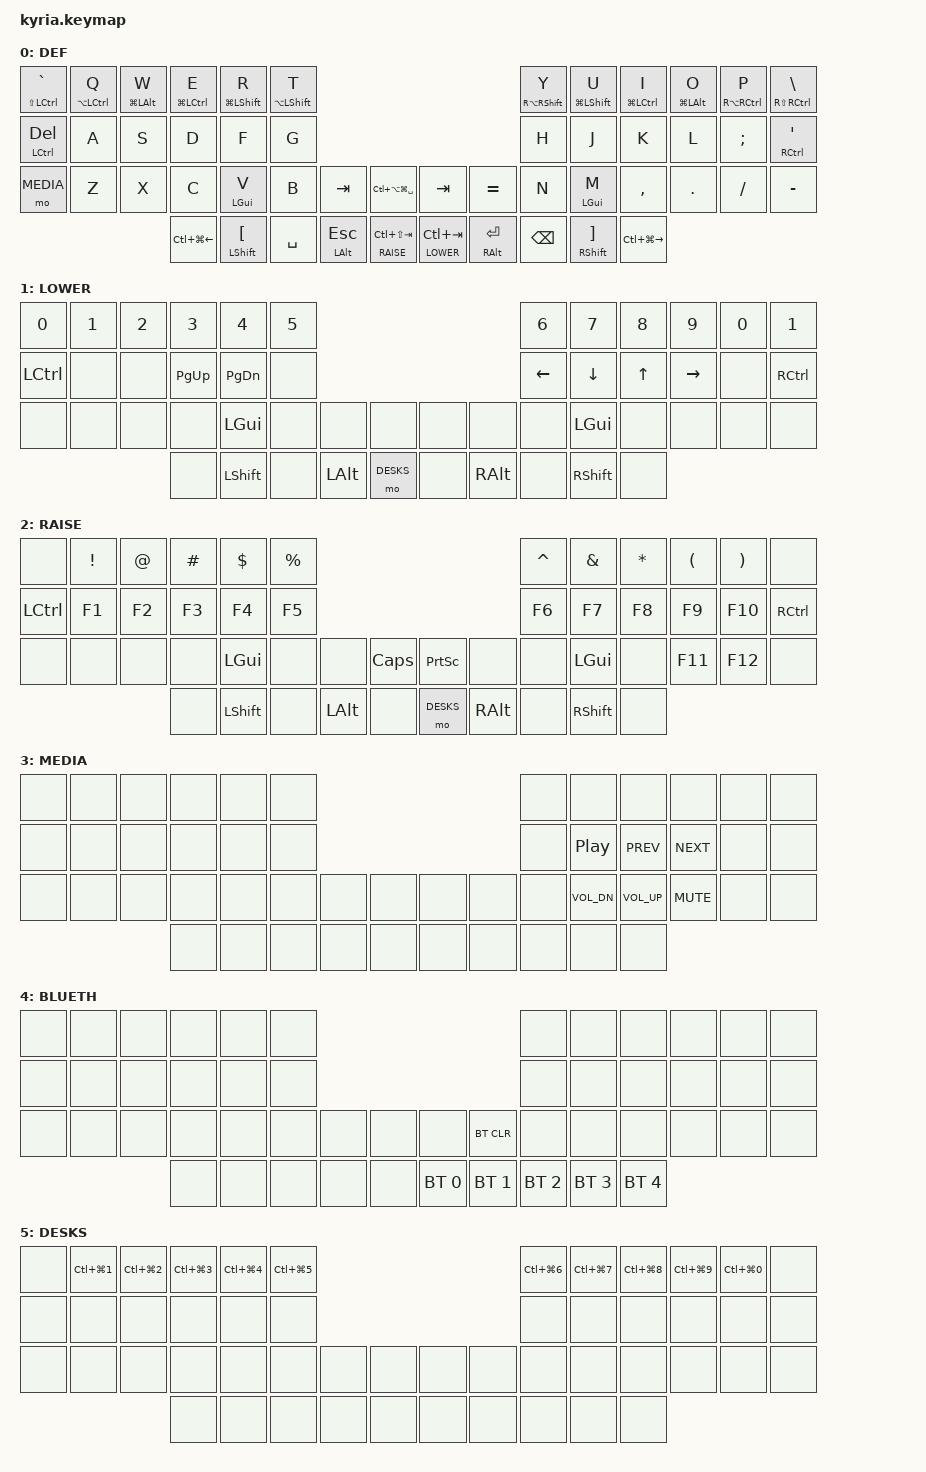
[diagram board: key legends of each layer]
/*
 * Copyright (c) 2020 The ZMK Contributors
 *
 * SPDX-License-Identifier: MIT
 */

#include <behaviors.dtsi>
#include <dt-bindings/zmk/keys.h>
#include <dt-bindings/zmk/bt.h>
#include <dt-bindings/zmk/outputs.h>


// Layer aliases
#define DEF      0
#define LOWER    1
#define RAISE    2
#define MEDIA    3
#define BLUETH   4
#define DESKS    5

// key aliases
#define TAB_LT      LC(LS(TAB)) // tab left
#define TAB_RT      LC(TAB) // tab right
#define DESK_LT     LC(LG(LEFT)) // desktop left
#define DESK_RT     LC(LG(RIGHT)) // desktop right

#define L_SC        LS(LEFT_CONTROL)
#define R_SC        RS(RIGHT_CONTROL)
#define L_AC        LA(LEFT_CONTROL)
#define R_AC        RA(RIGHT_CONTROL)
#define L_GC        LG(LEFT_CONTROL)
#define R_GC        RG(RIGHT_CONTROL)
#define L_GA        LG(LEFT_ALT)
#define R_GA        RG(RIGHT_ALT)
#define L_GS        LG(LEFT_SHIFT)
#define R_GS        RG(RIGHT_SHIFT)
#define L_AS        LA(LEFT_SHIFT)
#define R_AS        RA(RIGHT_SHIFT)

#define SPECIAL     LC(LA(LG(SPACE))) // Hold Left Control, Alt and GUI and press Space

&mt {
    flavor = "hold-preferred";
    tapping-term-ms = <150>;
};

&lt {
    flavor = "balanced";
    tapping-term-ms = <150>;
};

/ {
    behaviors {
        adm: alpha_double_mods {
            compatible = "zmk,behavior-hold-tap";
            label = "ALPHA_DOUBLE_MT";
            #binding-cells = <2>;
            tapping-term-ms = <250>;
            quick-tap-ms = <150>;
            flavor = "tap-preferred";
            bindings = <&kp>, <&kp>;
        };
        am: alpha_mods {
            compatible = "zmk,behavior-hold-tap";
            label = "ALPHA_MT";
            #binding-cells = <2>;
            tapping-term-ms = <200>;
            quick-tap-ms = <150>;
            flavor = "tap-preferred";
            bindings = <&kp>, <&kp>;
        };
        as: alpha_shift {
            compatible = "zmk,behavior-hold-tap";
            label = "ALPHA_SFT";
            #binding-cells = <2>;
            tapping-term-ms = <175>;
            quick-tap-ms = <150>;
            flavor = "tap-preferred";
            bindings = <&kp>, <&kp>;
        };
    };

    keymap {
        compatible = "zmk,keymap";
/*
 * Default Layer: QWERTY
 *
 * ,--------------------------------------------.                                            ,--------------------------------------------.
 * | sc_~ ` | ac_Q  | ga_W | gc_E | gs_R | sa_T |                                            | sa_Y | gs_U | gc_I | ga_O  | ac_P  |sc_\ | |
 * |--------+-------+------+------+------+------|                                            |------+------+------+-------+-------+-------|
 * | c_Del  |   A   |   S  |   D  |   F  |  G   |                                            |   H  |  J   |  K   |   L   |  ; :  | c_' " |
 * |--------+-------+------+------+------+------+------------------.       ,-----------------+------+------+------+-------+-------+-------|
 * | Media  |   Z   |   X  |   C  |  g_V |  B   |  Tab  | Special  |       |  BLUETH   | = + |   N  | g_M  | , <  |  . >  |  / ?  |  - _  |
 * `--------+-------+------+------+------+------+-------+----------|       |-----------+-----+------+------+------+-------+-------+-------'
 *                         |DeskLt| s_[{ |Space | a_Esc |RAI_c_Tab |       |LOW_sc_Tab |a_Ent|Bkspc | s_]} |DeskRt|
 *                         `---------------------------------------'       `--------------------------------------'
 */
        default_layer {
            label = "DEF";
            bindings = <
// ╭───────────────┬─────────────┬─────────────┬─────────────┬─────────────┬─────────────╮                                                                  ╭─────────────┬─────────────┬─────────────┬─────────────┬────────────┬──────────────╮
     &am L_SC GRAVE  &am L_AC Q    &am L_GA W    &am L_GC E    &am L_GS R    &am L_AS T                                                                        &am R_AS Y    &am L_GS U    &am L_GC I    &am L_GA O    &am R_AC P  &am R_SC BSLH
// ├───────────────├─────────────┼─────────────┼─────────────┼─────────────┼─────────────┤                                                                  ├─────────────├─────────────┼─────────────┼─────────────┼────────────┼──────────────┤
     &am LCTRL DEL    &kp A         &kp S         &kp D         &kp F         &kp G                                                                            &kp H         &kp J         &kp K         &kp L         &kp SEMI    &am RCTRL SQT
// ├───────────────├─────────────┼─────────────┼─────────────┼─────────────┼─────────────┼─────────────┬───────────────╮     ╭───────────────┬──────────────├─────────────├─────────────┼─────────────┼─────────────┼────────────┼──────────────┤
      &mo MEDIA       &kp Z         &kp X         &kp C         &am LGUI V    &kp B         &kp TAB       &kp SPECIAL            &kp TAB        &kp EQUAL      &kp N         &am LGUI M    &kp COMMA     &kp DOT       &kp FSLH     &kp MINUS
// ╰───────────────┴─────────────┴─────────────┼─────────────┼─────────────┼─────────────┼─────────────┼───────────────┤     ├───────────────├──────────────├─────────────├─────────────┼─────────────┼─────────────┴────────────┴──────────────╯
                                                &kp DESK_LT  &mt LSHFT LBKT  &kp SPACE    &am LALT ESC &lt RAISE TAB_LT       &lt LOWER TAB_RT &am RALT RET    &kp BSPC    &mt RSHFT RBKT  &kp DESK_RT
//                                             ╰─────────────┴─────────────┴─────────────┴─────────────┴───────────────╯     ╰───────────────┴──────────────┴─────────────┴─────────────┴─────────────╯
            >;
        };

/*
 * Lower Layer: Numbers and Arrow/Scroll Navigation
 *
 * ,-----------------------------------------.                                ,--------------------------------------------.
 * |  0   |  1   |  2   |  3   |  4   |  5   |                                |   6  |  7   |  8   |  9   |   0   |   1    |
 * |------+------+------+------+------+------|                                |------+------+------+------+-------+--------|
 * | CTRL |      |      | PgUp | PgDn |      |                                | Left | Down |  Up  |Right |       |  CTRL  |
 * |------+------+------+------+------+------+-------------.    ,-------------+------+------+------+------+-------+--------|
 * |      |      |      |      | Gui  |      |      |      |    |      |      |      | Gui  |      |      |       |        |
 * `--------------------+------+------+------+------+------|    |------+------+------+------+------+-----------------------'
 *                      |      | Shft |      | Alt  |DESKS |    |      | Alt  |      | Shft |      |
 *                      `----------------------------------'    `----------------------------------'
 */
        lower_layer {
            label = "LOWER";
            bindings = <
// ╭─────────────┬─────────────┬─────────────┬─────────────┬─────────────┬─────────────╮                                                           ╭─────────────┬─────────────┬─────────────┬─────────────┬─────────────┬─────────────╮
      &kp N0        &kp N1        &kp N2        &kp N3        &kp N4        &kp N5                                                                    &kp N6        &kp N7        &kp N8         &kp N9        &kp N0        &kp N1
// ├─────────────├─────────────┼─────────────┼─────────────┼─────────────┼─────────────┤                                                           ├─────────────├─────────────┼─────────────┼─────────────┼─────────────┼─────────────┤
      &kp LCTRL     &none         &none         &kp PG_UP     &kp PG_DN     &none                                                                     &kp LEFT      &kp DOWN      &kp UP         &kp RIGHT     &none         &kp RCTRL
// ├─────────────├─────────────┼─────────────┼─────────────┼─────────────┼─────────────┼─────────────┬─────────────╮   ╭─────────────┬─────────────├─────────────├─────────────┼─────────────┼─────────────┼─────────────┼─────────────┤
      &none         &none         &none         &none         &kp LGUI      &none         &none         &none             &none         &none         &none         &kp LGUI      &none          &none         &none         &none
// ╰─────────────┴─────────────┴─────────────┼─────────────┼─────────────┼─────────────┼─────────────┼─────────────┤   ├─────────────├─────────────├─────────────├─────────────┼─────────────┼─────────────┴─────────────┴─────────────╯
                                                &none         &kp LSHFT     &none         &kp LALT      &mo DESKS         &none         &kp RALT      &none         &kp RSHFT     &none
//                                           ╰─────────────┴─────────────┴─────────────┴─────────────┴─────────────╯   ╰─────────────┴─────────────┴─────────────┴─────────────┴─────────────╯
            >;
        };

/*
 * Raise Layer: Symbols and Function keys
 *
 * ,-----------------------------------------.                                ,------------------------------------------.
 * |      |  !   |  @   |  #   |  $   |  %   |                                |   ^  |   &  |  *   |  (   |  )   |       |
 * |------+------+------+------+------+------|                                |------+------+------+------+------+-------|
 * | CTRL |  F1  |  F2  |  F3  |  F4  |  F5  |                                |  F6  |  F7  |  F8  |  F9  | F10  | CTRL  |
 * |------+------+------+------+------+------+-------------.    ,-------------+------+------+------+------+------+-------|
 * |      |      |      |      | Gui  |      |      |CapsLk|    |PrtScn|      |      | Gui  |      |  F11 | F12  |       |
 * `--------------------+------+------+------+------+------|    |------+------+------+------+------+---------------------'
 *                      |      | Shft |      | Alt  |      |    |DESKS | Alt  |      | Shft |      |
 *                      `----------------------------------'    `----------------------------------'
 */
        raise_layer {
            label = "RAISE";
            bindings = <
// ╭─────────────┬─────────────┬─────────────┬─────────────┬─────────────┬─────────────╮                                                           ╭─────────────┬─────────────┬─────────────┬─────────────┬─────────────┬─────────────╮
      &none         &kp EXCL      &kp AT        &kp HASH      &kp DOLLAR    &kp PRCNT                                                                 &kp CARET     &kp AMPS      &kp STAR       &kp LPAR      &kp RPAR      &none
// ├─────────────├─────────────┼─────────────┼─────────────┼─────────────┼─────────────┤                                                           ├─────────────├─────────────┼─────────────┼─────────────┼─────────────┼─────────────┤
      &kp LCTRL     &kp F1        &kp F2        &kp F3        &kp F4        &kp F5                                                                    &kp F6        &kp F7        &kp F8         &kp F9        &kp F10       &kp RCTRL
// ├─────────────├─────────────┼─────────────┼─────────────┼─────────────┼─────────────┼─────────────┬─────────────╮   ╭─────────────┬─────────────├─────────────├─────────────┼─────────────┼─────────────┼─────────────┼─────────────┤
      &none        &none          &none         &none         &kp LGUI      &none         &none         &kp CAPS          &kp PSCRN     &none         &none         &kp LGUI      &none          &kp F11       &kp F12       &none
// ╰─────────────┴─────────────┴─────────────┼─────────────┼─────────────┼─────────────┼─────────────┼─────────────┤   ├─────────────├─────────────├─────────────├─────────────┼─────────────┼─────────────┴─────────────┴─────────────╯
                                                &none         &kp LSHFT     &none         &kp LALT      &none             &mo DESKS     &kp RALT      &none         &kp RSHFT     &none
//                                           ╰─────────────┴─────────────┴─────────────┴─────────────┴─────────────╯   ╰─────────────┴─────────────┴─────────────┴─────────────┴─────────────╯
            >;
        };

/*
 * Media Layer
 *
 * ,------------------------------------------.                                           ,---------------------------------------------.
 * |      |        |        |        |        |       |                                   |      |       |       |       |      |       |
 * |------+--------+--------+--------+--------+-------|                                   |------+-------+-------+-------+------+-------|
 * |      |        |        |        |        |       |                                   |      | Play  | Prev  | Next  |      |       |
 * |------+--------+--------+--------+--------+-------+-------------.       ,-------------+------+-------+-------+-------+------+-------|
 * |      |        |        |        |        |       |      |      |       |      |      |      | VolDn | VolUp |VolMute|      |       |
 * `------------------------+--------+--------+-------+------+------|       |------+------+------+-------+-------+----------------------'
 *                          |        |        |       |      |      |       |      |      |      |       |       |
 *                          `---------------------------------------'       `------------------------------------'
 */
        media_layer {
            label = "MEDIA";
            bindings = <
// ╭─────────────┬─────────────┬─────────────┬─────────────┬─────────────┬─────────────╮                                                           ╭─────────────┬─────────────┬─────────────┬─────────────┬─────────────┬─────────────╮
      &none        &none          &none         &none         &none         &none                                                                     &none         &none         &none         &none         &none         &none
// ├─────────────├─────────────┼─────────────┼─────────────┼─────────────┼─────────────┤                                                           ├─────────────├─────────────┼─────────────┼─────────────┼─────────────┼─────────────┤
      &none        &none          &none         &none         &none         &none                                                                     &none         &kp C_PP      &kp C_PREV    &kp C_NEXT    &none         &none
// ├─────────────├─────────────┼─────────────┼─────────────┼─────────────┼─────────────┼─────────────┬─────────────╮   ╭─────────────┬─────────────├─────────────├─────────────┼─────────────┼─────────────┼─────────────┼─────────────┤
      &none        &none          &none         &none         &none         &none         &none         &none             &none         &none         &none        &kp C_VOL_DN  &kp C_VOL_UP   &kp C_MUTE    &none         &none
// ╰─────────────┴─────────────┴─────────────┼─────────────┼─────────────┼─────────────┼─────────────┼─────────────┤   ├─────────────├─────────────├─────────────├─────────────┼─────────────┼─────────────┴─────────────┴─────────────╯
                                                &none         &none         &none         &none         &none             &none         &none         &none         &none         &none
//                                           ╰─────────────┴─────────────┴─────────────┴─────────────┴─────────────╯   ╰─────────────┴─────────────┴─────────────┴─────────────┴─────────────╯
            >;
        };

/*
 * Bluetooth Layer
 *
 * ,------------------------------------------.                                           ,---------------------------------------------.
 * |      |        |        |        |        |       |                                   |      |       |       |       |      |       |
 * |------+--------+--------+--------+--------+-------|                                   |------+-------+-------+-------+------+-------|
 * |      |        |        |        |        |       |                                   |      |       |       |       |      |       |
 * |------+--------+--------+--------+--------+-------+-------------.       ,-------------+------+-------+-------+-------+------+-------|
 * |      |        |        |        |        |       |      |      |       |      |BT_CLR|      |       |       |       |      |       |
 * `------------------------+--------+--------+-------+------+------|       |------+------+------+-------+-------+----------------------'
 *                          |        |        |       |      |      |       |BT_P_0|BT_P_1|BT_P_2|BT_P_3|BT_P_4|
 *                          `---------------------------------------'       `------------------------------------'
 */
        bluetooth_layer {
            label = "BLUETH";
            bindings = <
// ╭─────────────┬─────────────┬─────────────┬─────────────┬─────────────┬─────────────╮                                                           ╭─────────────┬─────────────┬─────────────┬─────────────┬─────────────┬─────────────╮
      &none        &none          &none         &none         &none         &none                                                                     &none         &none         &none         &none         &none         &none
// ├─────────────├─────────────┼─────────────┼─────────────┼─────────────┼─────────────┤                                                           ├─────────────├─────────────┼─────────────┼─────────────┼─────────────┼─────────────┤
      &none        &none          &none         &none         &none         &none                                                                     &none         &none         &none         &none         &none         &none
// ├─────────────├─────────────┼─────────────┼─────────────┼─────────────┼─────────────┼─────────────┬─────────────╮   ╭─────────────┬─────────────├─────────────├─────────────┼─────────────┼─────────────┼─────────────┼─────────────┤
      &none        &none          &none         &none         &none         &none         &none         &none             &none        &bt BT_CLR    &none         &none         &none         &none         &none         &none
// ╰─────────────┴─────────────┴─────────────┼─────────────┼─────────────┼─────────────┼─────────────┼─────────────┤   ├─────────────├─────────────├─────────────├─────────────┼─────────────┼─────────────┴─────────────┴─────────────╯
                                                &none         &none         &none         &none         &none            &bt BT_SEL 0  &bt BT_SEL 1  &bt BT_SEL 2  &bt BT_SEL 3  &bt BT_SEL 4
//                                           ╰─────────────┴─────────────┴─────────────┴─────────────┴─────────────╯   ╰─────────────┴─────────────┴─────────────┴─────────────┴─────────────╯
            >;
        };

/*
 * Desktops Layer
 *
 * ,-----------------------------------------.                                ,------------------------------------------.
 * |      |  D1  |  D2  |  D3  |  D4  |  D5  |                                |  D6  |  D7  |  D8  |  D9  |   D0  |      |
 * |------+------+------+------+------+------|                                |------+------+------+------+-------+------|
 * |      |      |      |      |      |      |                                |      |      |      |      |       |      |
 * |------+------+------+------+------+------+-------------.    ,-------------+------+------+------+------+-------+------|
 * |      |      |      |      |      |      |      |      |    |      |      |      |      |      |      |       |      |
 * `--------------------+------+------+------+------+------|    |------+------+------+------+------+---------------------'
 *                      |      |      |      |      |      |    |      |      |      |      |      |
 *                      `----------------------------------'    `----------------------------------'
 */
        desktops_layer {
            label = "DESKS";
            bindings = <
// ╭──────────────┬──────────────┬──────────────┬──────────────┬──────────────┬──────────────╮                                                           ╭──────────────┬──────────────┬──────────────┬──────────────┬──────────────┬─────────────╮
      &none        &kp LC(LG(N1)) &kp LC(LG(N2)) &kp LC(LG(N3)) &kp LC(LG(N4)) &kp LC(LG(N5))                                                             &kp LC(LG(N6)) &kp LC(LG(N7)) &kp LC(LG(N8)) &kp LC(LG(N9)) &kp LC(LG(N0))   &none
// ├──────────────├──────────────┼──────────────┼──────────────┼──────────────┼──────────────┤                                                           ├──────────────├──────────────┼──────────────┼──────────────┼──────────────┼─────────────┤
      &none          &none           &none          &none          &none         &none                                                                      &none          &none          &none          &none          &none          &none
// ├──────────────├──────────────┼──────────────┼──────────────┼──────────────┼──────────────┼─────────────┬─────────────╮   ╭─────────────┬─────────────├──────────────├──────────────┼──────────────┼──────────────┼──────────────┼─────────────┤
      &none          &none           &none          &none          &none         &none          &none         &none             &none         &none         &none          &none          &none          &none          &none          &none
// ╰──────────────┴──────────────┴──────────────┼──────────────┼──────────────┼──────────────┼─────────────┼─────────────┤   ├─────────────├─────────────├──────────────├──────────────┼──────────────┼──────────────┴──────────────┴─────────────╯
                                                    &none          &none         &none          &none         &none             &none         &none         &none          &none          &none
//                                              ╰──────────────┴──────────────┴──────────────┴─────────────┴─────────────╯   ╰─────────────┴─────────────┴──────────────┴──────────────┴──────────────╯
            >;
        };

    };
};
